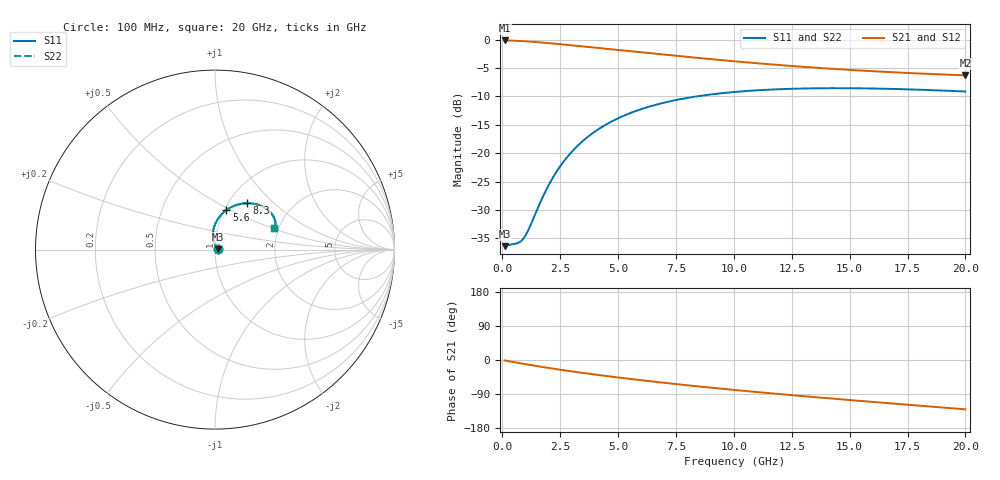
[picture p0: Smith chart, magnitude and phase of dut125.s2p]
! Touchstone file exported from HFSS 2024.1.0
!  File:  C:/UserFiles/LocalFiles/RDL_TSV_Batchsim/temp_RDL_TSV_125_1779425825.aedt
!  Generated:  01:10:56 PM May 22, 2026
!  Design:  RDL_TSV
!  Project:  temp_RDL_TSV_125_1779425825
!  Setup:  Setup1
!  Solution:  Sweep
! Variables:
!  dtsv = 8.9um
!  hbump = 3um
!  htsv = 59.98um
!  ldown = 195.63um
!  lrdl = 283.74um
!  p = 40
!  p1 = 41.78um
!  rhole = 10um
!  subl = 1721.85um
!  t = 450um
!  tdown = 3.65um
!  trdl = 2.57um
!  viad = 10um
!  wdown = 17.33um
!  wrdl = 13.96um
!  xbump = 18um
# GHz S MA R 50.000000
! Terminal data exported
! Port[1] = TM1_1_T1
! Port[2] = TM1_4_T1
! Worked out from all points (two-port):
!   200 points, 100 MHz to 20 GHz, reference 50 ohm
!   highest |S21| = -0.13 dB at 100 MHz (marker M1); lowest = -6.3 dB at 20 GHz (marker M2)
!   |S21| within 3 dB of the highest: start of sweep to 8.238 GHz
!   lowest |S11| = -36.4 dB at 100 MHz (marker M3), VSWR 1.03, Z = 51.5 + j0.173 ohm
!   |S11| at or under -10 dB: start of sweep to 8.391 GHz
!   |S22| runs from -36.4 to -8.5 dB; largest |S21 - S12| = 1.1e-14
!   S11 on the Smith chart (normalised r, x): 100 MHz: 1.03, +0.00; 5.6 GHz: 1.02, +0.47; 8.3 GHz: 1.22, +0.70; 20 GHz: 1.89, +0.51
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0.1  0.01515 6.4  0.9847 -1.1  0.9847 -1.1  0.01515 6.4
! Gamma 0 0 0 0
! Port Impedance 50 0 50 0
0.7  0.01624 42.9  0.9758 -7.8  0.9758 -7.8  0.01623 42.9
0.9  0.01754 58.0  0.9709 -9.9  0.9709 -9.9  0.01754 58.1
1.1  0.02049 72.5  0.9653 -12.0  0.9653 -12.0  0.02049 72.6
1.8  0.04334 96.9  0.9411 -19.1  0.9411 -19.1  0.04338 97.0
2.2  0.06169 99.1  0.9252 -22.9  0.9252 -22.9  0.06176 99.1
2.5  0.07669 98.5  0.9129 -25.6  0.9129 -25.6  0.07678 98.6
2.8  0.09226 97.0  0.9004 -28.3  0.9004 -28.3  0.09238 97.0
3.1  0.1081 94.9  0.8878 -30.9  0.8878 -30.9  0.1082 95.0
3.5  0.1292 91.7  0.8712 -34.3  0.8712 -34.3  0.1294 91.8
4  0.155 87.4  0.8507 -38.3  0.8507 -38.3  0.1552 87.5
4.5  0.1797 83.1  0.8307 -42.3  0.8307 -42.3  0.18 83.1
5  0.2029 78.8  0.8111 -46.1  0.8111 -46.1  0.2032 78.8
5.6  0.2286 73.9  0.7882 -50.5  0.7882 -50.5  0.229 74.0
6.8  0.2726 64.9  0.7448 -58.9  0.7448 -58.9  0.273 65.0
8.3  0.3141 55.3  0.6951 -68.7  0.6951 -68.7  0.3147 55.4
10.1  0.3472 45.8  0.643 -79.5  0.643 -79.5  0.3479 45.9
11.7  0.3643 38.9  0.6038 -88.5  0.6038 -88.5  0.3651 39.0
13.4  0.3727 32.8  0.5689 -97.5  0.5689 -97.5  0.3736 32.9
15  0.3736 28.2  0.5419 -105.7  0.5419 -105.7  0.3746 28.3
16.7  0.3689 24.3  0.5184 -114.1  0.5184 -114.1  0.3701 24.4
20  0.3495 19.8  0.4853 -130.2  0.4853 -130.2  0.3508 19.9
